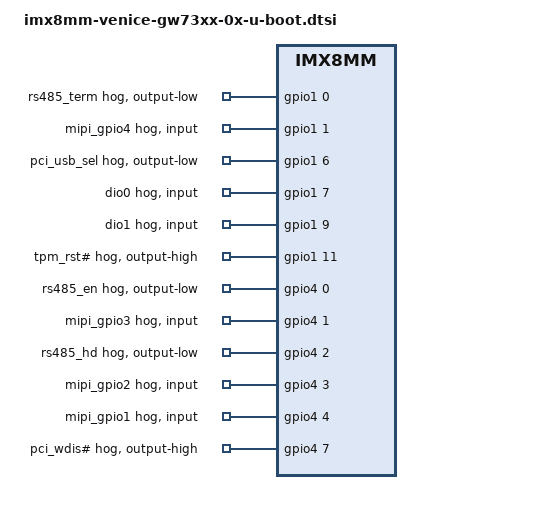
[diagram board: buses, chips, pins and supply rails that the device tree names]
// SPDX-License-Identifier: GPL-2.0+
/*
 * Copyright 2021 Gateworks Corporation
 */
#include "imx8mm-venice-gw700x-u-boot.dtsi"

&gpio1 {
	rs485_term {
		gpio-hog;
		output-low;
		gpios = <0 GPIO_ACTIVE_HIGH>;
		line-name = "rs485_term";
	};

	mipi_gpio4 {
		gpio-hog;
		input;
		gpios = <1 GPIO_ACTIVE_HIGH>;
		line-name = "mipi_gpio4";
	};

	pci_usb_sel {
		gpio-hog;
		output-low;
		gpios = <6 GPIO_ACTIVE_HIGH>;
		line-name = "pci_usb_sel";
	};

	dio_0 {
		gpio-hog;
		input;
		gpios = <7 GPIO_ACTIVE_HIGH>;
		line-name = "dio0";
	};

	dio_1 {
		gpio-hog;
		input;
		gpios = <9 GPIO_ACTIVE_HIGH>;
		line-name = "dio1";
	};

	tpm_rst {
		gpio-hog;
		output-high;
		gpios = <11 GPIO_ACTIVE_HIGH>;
		line-name = "tpm_rst#";
	};
};

&gpio4 {
	rs485_en {
		gpio-hog;
		output-low;
		gpios = <0 GPIO_ACTIVE_HIGH>;
		line-name = "rs485_en";
	};

	mipi_gpio3 {
		gpio-hog;
		input;
		gpios = <1 GPIO_ACTIVE_HIGH>;
		line-name = "mipi_gpio3";
	};

	rs485_half {
		gpio-hog;
		output-low;
		gpios = <2 GPIO_ACTIVE_HIGH>;
		line-name = "rs485_hd";
	};

	mipi_gpio2 {
		gpio-hog;
		input;
		gpios = <3 GPIO_ACTIVE_HIGH>;
		line-name = "mipi_gpio2";
	};

	mipi_gpio1 {
		gpio-hog;
		input;
		gpios = <4 GPIO_ACTIVE_HIGH>;
		line-name = "mipi_gpio1";
	};

	pci_wdis {
		gpio-hog;
		output-high;
		gpios = <7 GPIO_ACTIVE_HIGH>;
		line-name = "pci_wdis#";
	};
};
